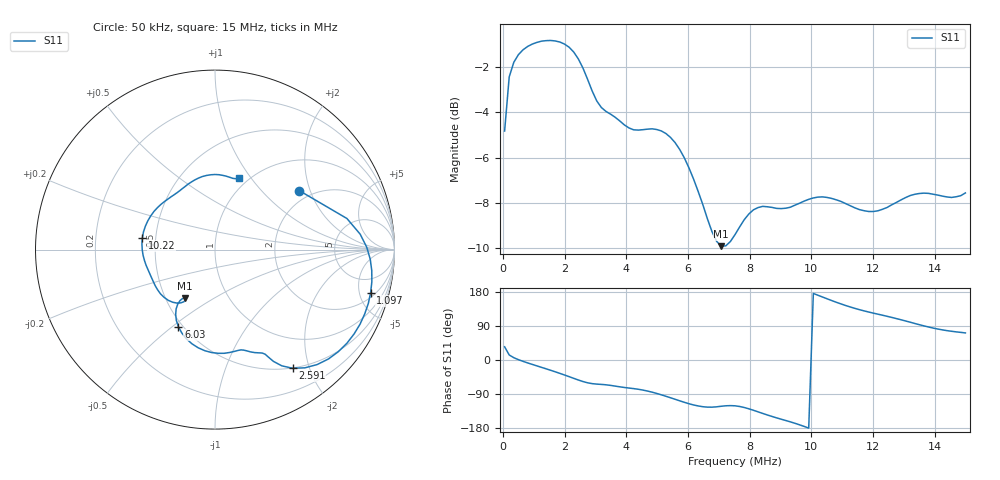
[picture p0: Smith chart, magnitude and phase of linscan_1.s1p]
# Hz S RI R 50
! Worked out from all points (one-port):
!   101 points, 50 kHz to 15 MHz, reference 50 ohm
!   lowest |S11| = -9.9 dB at 7.077 MHz (marker M1), VSWR 1.94, Z = 31.1 - j18.8 ohm
!   |S11| at or under -10 dB: nowhere
!   S11 on the Smith chart (normalised r, x): 50 kHz: 1.73, +1.69; 1.097 MHz: 2.53, -6.37; 2.591 MHz: 0.50, -1.74; 6.03 MHz: 0.47, -0.53; 10.22 MHz: 0.42, +0.07; 15 MHz: 0.91, +0.87
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50000  0.4704 0.3282
199500  0.7352 0.1731
349000  0.8089 0.0859
648000  0.865 -0.0539
1096500  0.867 -0.2402
1545000  0.8084 -0.415
1993500  0.6874 -0.5685
2292500  0.5687 -0.6407
2591500  0.4323 -0.6611
2890500  0.3259 -0.623
3189500  0.2793 -0.5828
3787500  0.1985 -0.57
4535000  0.107 -0.5675
5133000  -0.0184 -0.5736
5731000  -0.159 -0.4975
6030000  -0.2039 -0.4299
6628000  -0.2075 -0.3034
7076500  -0.1696 -0.2708
7525000  -0.174 -0.2907
8123000  -0.2605 -0.2826
8571500  -0.3198 -0.2239
9468500  -0.3833 -0.0888
1.0216e7  -0.4048 0.0649
1.12625e7  -0.3006 0.2524
1.21595e7  -0.1969 0.3278
1.3206e7  -0.0703 0.4072
1.4103e7  0.0596 0.4099
1.5e7  0.1332 0.397
